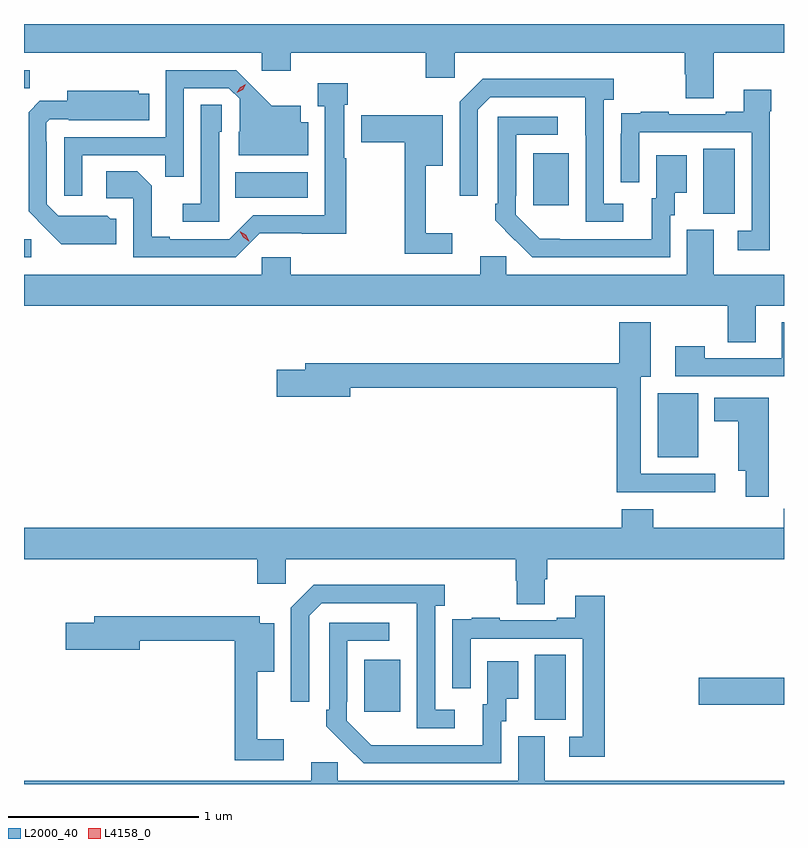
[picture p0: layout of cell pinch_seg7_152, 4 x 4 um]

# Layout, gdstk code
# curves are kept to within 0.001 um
import gdstk
lib = gdstk.Library(unit=1e-6, precision=1e-09)
def R(c, l, rs):  # rectangles x0, y0, x1, y1
    for r in rs: c.add(gdstk.rectangle(r[:2], r[2:], *l))
def P(c, l, *ps):  # polygons
    for p in ps: c.add(gdstk.Polygon(p, *l))
L2000_40 = (2000, 40)
L4158_0 = (4158, 0)

pinch_seg7_152 = lib.new_cell('pinch_seg7_152')
R(pinch_seg7_152, L2000_40, [(1033.826,1009.093,1033.99,1009.436), (1032.929,1009.137,1033.117,1009.411), (1034.688,1009.174,1035.138,1009.316), (1034.474,1010.477,1034.686,1010.812), (1031.138,1011.528,1031.176,1011.624), (1034.714,1011.757,1034.878,1012.1), (1033.817,1011.801,1034.005,1012.075), (1032.25,1011.842,1032.631,1011.976), (1031.138,1012.417,1031.169,1012.512)])
P(pinch_seg7_152, L2000_40, [(1034.767,1012.604),(1035.138,1012.604),(1035.138,1012.756),(1031.138,1012.756),(1031.138,1012.604),(1032.39,1012.604),(1032.39,1012.509),(1032.542,1012.509),(1032.542,1012.604),(1033.253,1012.604),(1033.253,1012.473),(1033.404,1012.473),(1033.404,1012.604),(1034.615,1012.604),(1034.615,1012.491),(1034.62,1012.491),(1034.62,1012.366),(1034.767,1012.366)],
  [(1031.445,1012.065),(1031.881,1012.065),(1031.881,1011.952),(1031.979,1011.952),(1031.979,1012.419),(1032.216,1012.419),(1032.273,1012.362),(1032.273,1012.188),(1032.269,1012.188),(1032.269,1012.064),(1032.634,1012.064),(1032.634,1012.24),(1032.595,1012.24),(1032.595,1012.327),(1032.443,1012.327),(1032.256,1012.512),(1031.883,1012.512),(1031.883,1012.161),(1031.349,1012.161),(1031.349,1011.852),(1031.445,1011.852)],
  [(1034.293,1011.81),(1034.19,1011.81),(1034.19,1012.358),(1034.242,1012.358),(1034.242,1012.468),(1033.552,1012.468),(1033.431,1012.347),(1033.431,1011.852),(1033.527,1011.852),(1033.527,1012.305),(1033.593,1012.371),(1034.093,1012.371),(1034.094,1011.714),(1034.293,1011.714)],
  [(1032.378,1011.654),(1032.833,1011.653),(1032.833,1012.049),(1032.823,1012.049),(1032.823,1012.331),(1032.841,1012.331),(1032.841,1012.444),(1032.683,1012.444),(1032.683,1012.323),(1032.722,1012.323),(1032.722,1011.75),(1032.345,1011.75),(1032.219,1011.624),(1031.905,1011.624),(1031.905,1011.637),(1031.811,1011.637),(1031.811,1011.904),(1031.735,1011.98),(1031.571,1011.98),(1031.571,1011.84),(1031.712,1011.84),(1031.712,1011.528),(1032.252,1011.528)],
  [(1035.063,1012.298),(1035.072,1012.298),(1035.072,1012.411),(1034.927,1012.411),(1034.927,1012.294),(1034.831,1012.294),(1034.831,1012.281),(1034.531,1012.281),(1034.531,1012.294),(1034.383,1012.294),(1034.383,1012.287),(1034.281,1012.287),(1034.281,1012.178),(1034.28,1012.178),(1034.28,1011.924),(1034.376,1011.924),(1034.376,1012.185),(1034.967,1012.185),(1034.967,1011.669),(1034.895,1011.669),(1034.895,1011.564),(1035.063,1011.564)],
  [(1031.623,1011.732),(1031.592,1011.732),(1031.576,1011.748),(1031.319,1011.747),(1031.259,1011.807),(1031.259,1012.136),(1031.256,1012.136),(1031.256,1012.236),(1031.274,1012.254),(1031.374,1012.254),(1031.374,1012.25),(1031.798,1012.25),(1031.798,1012.39),(1031.742,1012.39),(1031.742,1012.405),(1031.366,1012.405),(1031.366,1012.351),(1031.222,1012.351),(1031.163,1012.292),(1031.163,1011.77),(1031.335,1011.596),(1031.623,1011.596)],
  [(1032.165,1012.188),(1032.18,1012.188),(1032.18,1012.331),(1032.069,1012.331),(1032.069,1011.811),(1031.973,1011.811),(1031.973,1011.714),(1032.165,1011.714)],
  [(1033.393,1011.655),(1033.253,1011.655),(1033.253,1012.01),(1033.342,1012.01),(1033.342,1012.275),(1032.912,1012.275),(1032.912,1012.133),(1033.143,1012.133),(1033.143,1011.546),(1033.393,1011.546)],
  [(1034.538,1011.75),(1034.563,1011.75),(1034.563,1011.869),(1034.626,1011.869),(1034.626,1012.066),(1034.465,1012.066),(1034.465,1011.84),(1034.441,1011.84),(1034.441,1011.624),(1033.853,1011.625),(1033.725,1011.753),(1033.725,1011.853),(1033.728,1011.853),(1033.728,1012.173),(1033.948,1012.173),(1033.948,1012.269),(1033.632,1012.269),(1033.632,1011.811),(1033.617,1011.811),(1033.617,1011.723),(1033.814,1011.528),(1034.538,1011.528)],
  [(1034.989,1011.272),(1035.138,1011.272),(1035.138,1011.436),(1034.767,1011.436),(1034.767,1011.672),(1034.627,1011.672),(1034.627,1011.436),(1033.677,1011.436),(1033.677,1011.534),(1033.538,1011.534),(1033.538,1011.436),(1032.542,1011.436),(1032.542,1011.529),(1032.39,1011.529),(1032.39,1011.436),(1031.138,1011.436),(1031.138,1011.272),(1034.842,1011.272),(1034.842,1011.082),(1034.989,1011.082)],
  [(1035.138,1011.187),(1035.125,1011.187),(1035.125,1010.997),(1034.721,1010.997),(1034.721,1011.061),(1034.565,1011.061),(1034.565,1010.901),(1035.138,1010.901)],
  [(1034.776,1010.388),(1034.383,1010.388),(1034.383,1010.9),(1034.437,1010.9),(1034.437,1011.187),(1034.27,1011.187),(1034.27,1010.971),(1032.617,1010.971),(1032.617,1010.937),(1032.468,1010.937),(1032.468,1010.795),(1032.856,1010.795),(1032.856,1010.842),(1034.257,1010.842),(1034.257,1010.291),(1034.776,1010.291)],
  [(1035.058,1010.788),(1034.771,1010.788),(1034.771,1010.666),(1034.897,1010.666),(1034.897,1010.405),(1034.936,1010.405),(1034.936,1010.268),(1035.058,1010.268)],
  [(1033.879,1009.834),(1033.892,1009.834),(1033.892,1009.94),(1035.138,1009.94),(1035.138,1010.205),(1035.137,1010.205),(1035.137,1010.104),(1034.45,1010.104),(1034.45,1010.203),(1034.285,1010.203),(1034.285,1010.104),(1031.138,1010.104),(1031.138,1009.94),(1032.365,1009.94),(1032.365,1009.809),(1032.516,1009.809),(1032.516,1009.94),(1033.727,1009.94),(1033.727,1009.827),(1033.732,1009.827),(1033.732,1009.702),(1033.879,1009.702)],
  [(1033.405,1009.146),(1033.302,1009.146),(1033.302,1009.694),(1033.353,1009.694),(1033.353,1009.804),(1032.664,1009.804),(1032.543,1009.683),(1032.543,1009.188),(1032.639,1009.188),(1032.639,1009.641),(1032.705,1009.707),(1033.205,1009.707),(1033.206,1009.05),(1033.405,1009.05)],
  [(1034.195,1009.747),(1034.039,1009.747),(1034.039,1009.63),(1033.943,1009.63),(1033.943,1009.617),(1033.643,1009.617),(1033.643,1009.63),(1033.495,1009.63),(1033.495,1009.623),(1033.393,1009.623),(1033.393,1009.514),(1033.392,1009.514),(1033.392,1009.26),(1033.488,1009.26),(1033.488,1009.521),(1034.079,1009.521),(1034.079,1009.005),(1034.007,1009.005),(1034.007,1008.9),(1034.195,1008.9)],
  [(1032.505,1008.991),(1032.365,1008.991),(1032.365,1009.346),(1032.454,1009.346),(1032.454,1009.603),(1032.378,1009.603),(1032.378,1009.639),(1031.507,1009.639),(1031.507,1009.605),(1031.358,1009.605),(1031.358,1009.463),(1031.746,1009.463),(1031.746,1009.51),(1032.247,1009.51),(1032.247,1008.882),(1032.505,1008.882)],
  [(1033.65,1009.086),(1033.675,1009.086),(1033.675,1009.205),(1033.738,1009.205),(1033.738,1009.402),(1033.577,1009.402),(1033.577,1009.176),(1033.553,1009.176),(1033.553,1008.96),(1032.966,1008.961),(1032.837,1009.089),(1032.837,1009.189),(1032.84,1009.189),(1032.84,1009.509),(1033.06,1009.509),(1033.06,1009.605),(1032.744,1009.605),(1032.744,1009.147),(1032.729,1009.147),(1032.729,1009.059),(1032.926,1008.864),(1033.65,1008.864)],
  [(1035.138,1008.772),(1033.879,1008.772),(1033.879,1009.008),(1033.739,1009.008),(1033.739,1008.772),(1032.789,1008.772),(1032.789,1008.87),(1032.65,1008.87),(1032.65,1008.772),(1031.138,1008.772),(1031.138,1008.756),(1035.138,1008.756)])
P(pinch_seg7_152, L4158_0, [(1032.322,1011.613),(1032.291,1011.633),(1032.274,1011.666),(1032.274,1011.666),(1032.274,1011.666),(1032.306,1011.646),(1032.323,1011.613),(1032.323,1011.613)],
  [(1032.257,1012.394),(1032.257,1012.394),(1032.275,1012.424),(1032.306,1012.438),(1032.306,1012.438),(1032.306,1012.438),(1032.289,1012.409),(1032.258,1012.394)])

lib.write_gds('pinch_seg7_152.gds')
